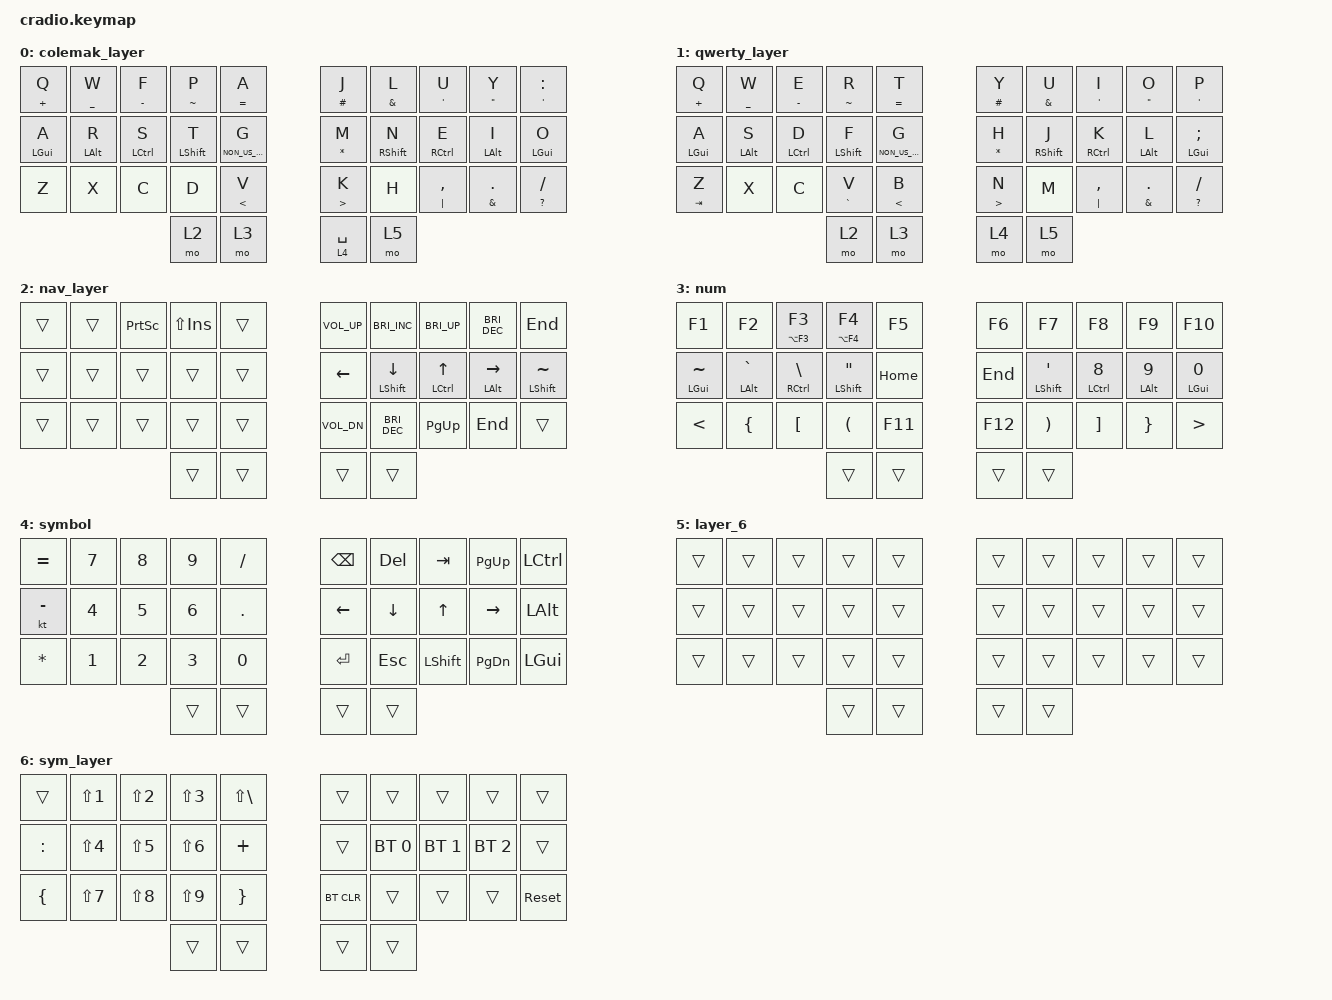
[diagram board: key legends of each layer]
/*
 * Copyright (c) 2020 The ZMK Contributors
 *
 * SPDX-License-Identifier: MIT
 */

#include <behaviors.dtsi>
#include <dt-bindings/zmk/bt.h>
#include <dt-bindings/zmk/keys.h>

#define NAV_L 1
#define OTHER_L 2
#define NUM_L 3
#define SYM_L 4

// Using layer taps on thumbs, having quick tap as well helps w/ repeating space/backspace

&lt { quick_tap_ms = <200>; };

&mt {
    flavor = "tap-preferred";
    tapping_term_ms = <285>;
};

/ {
    behaviors {
        hm: homerow_mods {
            compatible = "zmk,behavior-hold-tap";
            #binding-cells = <2>;
            tapping_term_ms = <200>;
            flavor = "tap-preferred";
            bindings = <&kp>, <&kp>;
        };
    };

    combos {
        compatible = "zmk,combos";

        colmak-0 {
            bindings = <&to 0>;
            key-positions = <13 12>;
        };

        colemak-1 {
            bindings = <&to 0>;
            key-positions = <16 17>;
        };

        to-nav {
            bindings = <&to 1>;
            key-positions = <16 18>;
        };

        to-command {
            bindings = <&to 6>;
            key-positions = <13 11>;
        };
    };

    keymap {
        compatible = "zmk,keymap";

        colemak_layer {
            bindings = <
&mt PLUS Q  &mt UNDER W  &mt MINUS F  &mt TILDE P  &mt EQUAL A               &mt HASH J          &mt AMPERSAND L  &mt SQT U       &mt DOUBLE_QUOTES Y   &mt SQT COLON
&hm LGUI A  &hm LALT R   &hm LCTRL S  &hm LSHFT T  &mt NON_US_BACKSLASH G    &mt ASTERISK M      &hm RSHFT N      &hm RCTRL E     &hm LALT I            &hm LGUI O
&kp Z       &kp X        &kp C        &kp D        &mt LESS_THAN V           &mt GREATER_THAN K  &kp H            &mt PIPE COMMA  &mt AMPERSAND PERIOD  &mt QUESTION SLASH
                                      &mo 2        &mo 3                     &lt 4 SPACE         &mo 5
            >;
        };

        qwerty_layer {
            bindings = <
&mt PLUS Q  &mt UNDER W  &mt MINUS E  &mt TILDE R  &mt EQUAL T               &mt HASH Y          &mt AMPERSAND U  &mt SQT I       &mt DOUBLE_QUOTES O   &mt SQT P
&hm LGUI A  &hm LALT S   &hm LCTRL D  &hm LSHFT F  &mt NON_US_BACKSLASH G    &mt ASTERISK H      &hm RSHFT J      &hm RCTRL K     &hm LALT L            &hm LGUI SEMI
&mt TAB Z   &kp X        &kp C        &mt GRAVE V  &mt LESS_THAN B           &mt GREATER_THAN N  &kp M            &mt PIPE COMMA  &mt AMPERSAND PERIOD  &mt QUESTION SLASH
                                      &mo 2        &mo 3                     &mo 4               &mo 5
            >;
        };

        nav_layer {
            bindings = <
&trans  &trans  &kp PRINTSCREEN  &kp LS(INS)  &trans    &kp C_VOLUME_UP  &kp C_BRIGHTNESS_INC       &kp C_BRI_UP               &kp C_BRI_DEC             &kp END
&trans  &trans  &trans           &trans       &trans    &kp LEFT_ARROW   &mt LEFT_SHIFT DOWN_ARROW  &mt LEFT_CONTROL UP_ARROW  &mt LEFT_ALT RIGHT_ARROW  &mt LEFT_SHIFT TILDE
&trans  &trans  &trans           &trans       &trans    &kp C_VOL_DN     &kp C_BRIGHTNESS_DEC       &kp PAGE_UP                &kp END                   &trans
                                 &trans       &trans    &trans           &trans
            >;
        };

        num {
            bindings = <
&kp F1              &kp F2              &mt LA(F3) F3        &mt LA(F4) F4                 &kp F5      &kp F6   &kp F7                       &kp F8                     &kp F9           &kp F10
&mt LEFT_GUI TILDE  &mt LEFT_ALT GRAVE  &mt RCTRL BACKSLASH  &mt LEFT_SHIFT DOUBLE_QUOTES  &kp HOME    &kp END  &mt LEFT_SHIFT SINGLE_QUOTE  &mt LEFT_CONTROL NUMBER_8  &mt LEFT_ALT N9  &mt LEFT_GUI N0
&kp LESS_THAN       &kp LEFT_BRACE      &kp LEFT_BRACKET     &kp LEFT_PARENTHESIS          &kp F11     &kp F12  &kp RIGHT_PARENTHESIS        &kp RIGHT_BRACKET          &kp RIGHT_BRACE  &kp GREATER_THAN
                                                             &trans                        &trans      &trans   &trans
            >;
        };

        symbol {
            bindings = <
&kp EQUAL     &kp N7        &kp N8        &kp N9        &kp SLASH     &kp BACKSPACE   &kp DELETE  &kp TAB         &kp PAGE_UP    &kp LEFT_CONTROL
&kt MINUS     &kp NUMBER_4  &kp N5        &kp NUMBER_6  &kp PERIOD    &kp LEFT_ARROW  &kp DOWN    &kp UP_ARROW    &kp RIGHT      &kp LEFT_ALT
&kp ASTERISK  &kp NUMBER_1  &kp NUMBER_2  &kp NUMBER_3  &kp N0        &kp ENTER       &kp ESCAPE  &kp LEFT_SHIFT  &kp PAGE_DOWN  &kp LEFT_GUI
                                          &trans        &trans        &trans          &trans
            >;
        };

        layer_6 {
            bindings = <
&trans  &trans  &trans  &trans  &trans    &trans  &trans  &trans  &trans  &trans
&trans  &trans  &trans  &trans  &trans    &trans  &trans  &trans  &trans  &trans
&trans  &trans  &trans  &trans  &trans    &trans  &trans  &trans  &trans  &trans
                        &trans  &trans    &trans  &trans
            >;
        };

        sym_layer {
            bindings = <
&trans     &kp LS(N1)  &kp LS(N2)  &kp LS(N3)  &kp LS(BSLH)    &trans      &trans        &trans        &trans        &trans
&kp COLON  &kp LS(N4)  &kp LS(N5)  &kp LS(N6)  &kp PLUS        &trans      &bt BT_SEL 0  &bt BT_SEL 1  &bt BT_SEL 2  &trans
&kp LBRC   &kp LS(N7)  &kp LS(N8)  &kp LS(N9)  &kp RBRC        &bt BT_CLR  &trans        &trans        &trans        &sys_reset
                                   &trans      &trans          &trans      &trans
            >;
        };
    };
};
